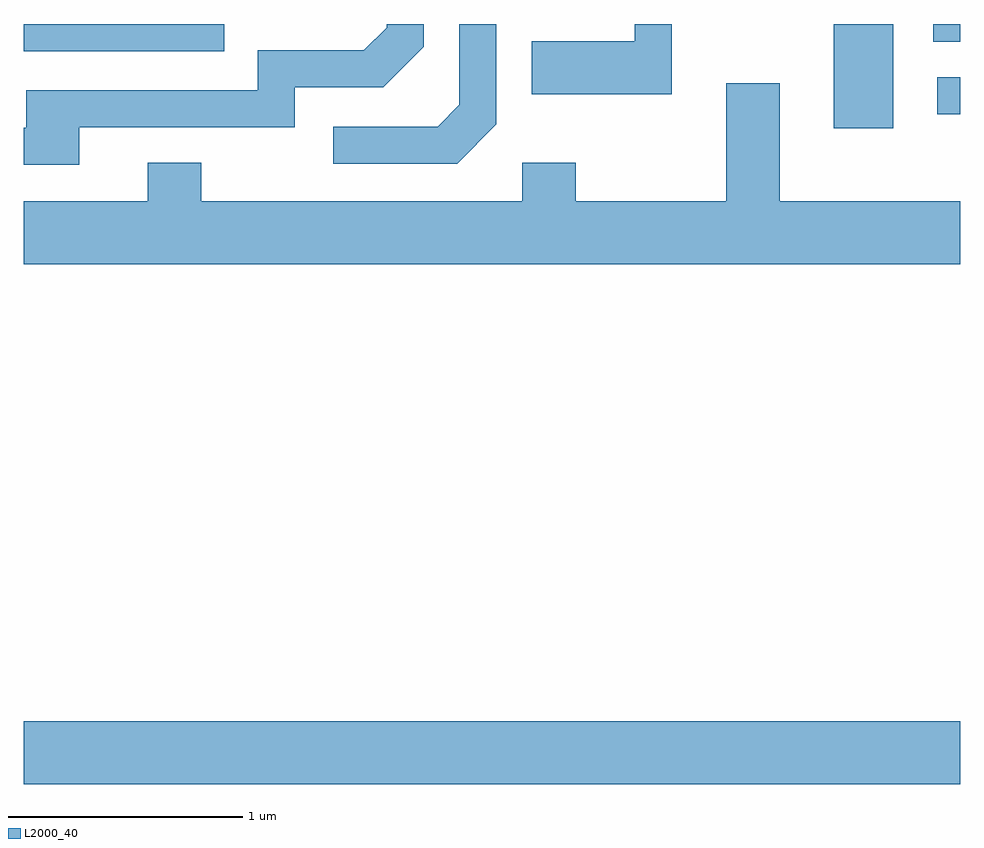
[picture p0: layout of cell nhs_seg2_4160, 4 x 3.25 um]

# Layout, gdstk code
import gdstk
lib = gdstk.Library(unit=1e-6, precision=1e-09)
def R(c, l, rs):  # rectangles x0, y0, x1, y1
    for r in rs: c.add(gdstk.rectangle(r[:2], r[2:], *l))
def P(c, l, *ps):  # polygons
    for p in ps: c.add(gdstk.Polygon(p, *l))
L2000_40 = (2000, 40)

nhs_seg2_4160 = lib.new_cell('nhs_seg2_4160')
R(nhs_seg2_4160, L2000_40, [(307.611,1030.556,311.611,1030.824), (311.071,1033.356,311.324,1033.802), (311.513,1033.416,311.611,1033.574), (307.611,1033.686,308.468,1033.802), (311.496,1033.726,311.611,1033.802)])
P(nhs_seg2_4160, L2000_40, [(309.629,1033.373),(309.629,1033.802),(309.471,1033.802),(309.471,1033.457),(309.379,1033.364),(308.933,1033.364),(308.933,1033.206),(309.462,1033.206)],
  [(307.849,1033.361),(308.769,1033.361),(308.769,1033.531),(309.147,1033.531),(309.319,1033.704),(309.319,1033.802),(309.161,1033.802),(309.161,1033.786),(309.064,1033.689),(308.611,1033.689),(308.611,1033.519),(307.621,1033.519),(307.621,1033.359),(307.611,1033.359),(307.611,1033.201),(307.849,1033.201)],
  [(310.379,1033.802),(310.221,1033.802),(310.221,1033.729),(309.781,1033.729),(309.781,1033.501),(310.379,1033.501)],
  [(311.611,1033.044),(310.839,1033.044),(310.839,1033.549),(310.611,1033.549),(310.611,1033.044),(309.969,1033.044),(309.969,1033.209),(309.741,1033.209),(309.741,1033.044),(308.369,1033.044),(308.369,1033.209),(308.141,1033.209),(308.141,1033.044),(307.611,1033.044),(307.611,1032.776),(311.611,1032.776)])

lib.write_gds('nhs_seg2_4160.gds')
